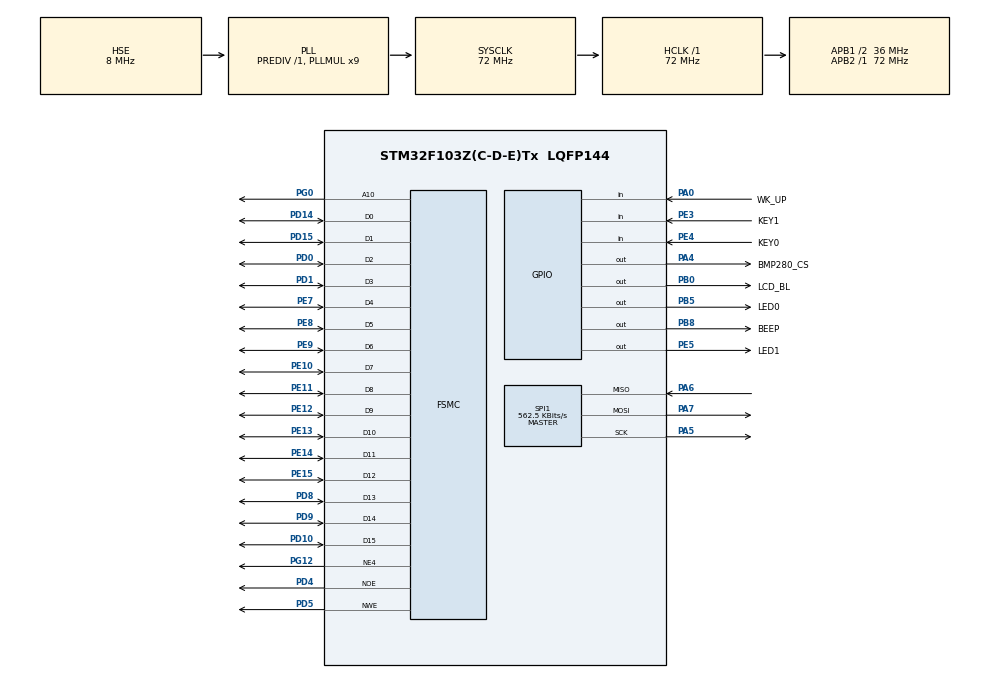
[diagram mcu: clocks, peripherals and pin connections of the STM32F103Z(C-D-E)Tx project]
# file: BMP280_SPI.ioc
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FSMC.AddressSetupTime1=1
FSMC.BusTurnAroundDuration1=0
FSMC.DataSetupTime1=15
FSMC.ExtendedAddressSetupTime1=0
FSMC.ExtendedBusTurnAroundDuration1=0
FSMC.ExtendedDataSetupTime1=3
FSMC.ExtendedMode1=FSMC_EXTENDED_MODE_ENABLE
Mcu.Family=STM32F1
Mcu.Name=STM32F103Z(C-D-E)Tx
Mcu.Package=LQFP144
NVIC.PriorityGroup=NVIC_PRIORITYGROUP_2
OSC_IN.Mode=HSE-External-Oscillator
OSC_IN.Signal=RCC_OSC_IN
OSC_OUT.Mode=HSE-External-Oscillator
OSC_OUT.Signal=RCC_OSC_OUT
PA0-WKUP.GPIO_Label=WK_UP
PA0-WKUP.GPIO_PuPd=GPIO_PULLDOWN
PA0-WKUP.Signal=GPIO_Input
PA13.Mode=Serial_Wire
PA13.Signal=SYS_JTMS-SWDIO
PA14.Mode=Serial_Wire
PA14.Signal=SYS_JTCK-SWCLK
PA4.GPIO_Label=BMP280_CS
PA4.GPIO_Speed=GPIO_SPEED_FREQ_HIGH
PA4.PinState=GPIO_PIN_SET
PA4.Signal=GPIO_Output
PA5.Mode=Full_Duplex_Master
PA5.Signal=SPI1_SCK
PA6.Mode=Full_Duplex_Master
PA6.Signal=SPI1_MISO
PA7.Mode=Full_Duplex_Master
PA7.Signal=SPI1_MOSI
PB0.GPIO_Label=LCD_BL
PB0.GPIO_PuPd=GPIO_PULLUP
PB0.Signal=GPIO_Output
PB5.GPIO_Label=LED0
PB5.GPIO_PuPd=GPIO_PULLUP
PB5.GPIO_Speed=GPIO_SPEED_FREQ_LOW
PB5.PinState=GPIO_PIN_SET
PB5.Signal=GPIO_Output
PB8.GPIO_Label=BEEP
PB8.GPIO_PuPd=GPIO_PULLUP
PB8.Signal=GPIO_Output
PC14-OSC32_IN.Mode=LSE-External-Oscillator
PC14-OSC32_IN.Signal=RCC_OSC32_IN
PC15-OSC32_OUT.Mode=LSE-External-Oscillator
PC15-OSC32_OUT.Signal=RCC_OSC32_OUT
PD0.Signal=FSMC_D2_DA2
PD1.Signal=FSMC_D3_DA3
PD10.Signal=FSMC_D15_DA15
PD14.Signal=FSMC_D0_DA0
PD15.Signal=FSMC_D1_DA1
PD4.Signal=FSMC_NOE
PD5.Signal=FSMC_NWE
PD8.Signal=FSMC_D13_DA13
PD9.Signal=FSMC_D14_DA14
PE10.Signal=FSMC_D7_DA7
PE11.Signal=FSMC_D8_DA8
PE12.Signal=FSMC_D9_DA9
PE13.Signal=FSMC_D10_DA10
PE14.Signal=FSMC_D11_DA11
PE15.Signal=FSMC_D12_DA12
PE3.GPIO_Label=KEY1
PE3.GPIO_PuPd=GPIO_PULLUP
PE3.Signal=GPIO_Input
PE4.GPIO_Label=KEY0
PE4.GPIO_PuPd=GPIO_PULLUP
PE4.Signal=GPIO_Input
PE5.GPIO_Label=LED1
PE5.GPIO_PuPd=GPIO_PULLUP
PE5.PinState=GPIO_PIN_SET
PE5.Signal=GPIO_Output
PE7.Signal=FSMC_D4_DA4
PE8.Signal=FSMC_D5_DA5
PE9.Signal=FSMC_D6_DA6
PG0.Signal=FSMC_A10
PG12.Mode=NorPsramChipSelect4_1
PG12.Signal=FSMC_NE4
ProjectManager.HeapSize=0x200
ProjectManager.StackSize=0x400
ProjectManager.TargetToolchain=MDK-ARM V5
RCC.AHBFreq_Value=72000000
RCC.APB1CLKDivider=RCC_HCLK_DIV2
RCC.APB1Freq_Value=36000000
RCC.APB1TimFreq_Value=72000000
RCC.APB2Freq_Value=72000000
RCC.APB2TimFreq_Value=72000000
RCC.HCLKFreq_Value=72000000
RCC.PLLMUL=RCC_PLL_MUL9
RCC.PLLSourceVirtual=RCC_PLLSOURCE_HSE
RCC.SYSCLKFreq_VALUE=72000000
RCC.SYSCLKSource=RCC_SYSCLKSOURCE_PLLCLK
RCC.USBFreq_Value=72000000
SH.FSMC_A10.0=FSMC_A10,A10_1
SH.FSMC_D0_DA0.0=FSMC_D0,16b-d1
SH.FSMC_D10_DA10.0=FSMC_D10,16b-d1
SH.FSMC_D11_DA11.0=FSMC_D11,16b-d1
SH.FSMC_D12_DA12.0=FSMC_D12,16b-d1
SH.FSMC_D13_DA13.0=FSMC_D13,16b-d1
SH.FSMC_D14_DA14.0=FSMC_D14,16b-d1
SH.FSMC_D15_DA15.0=FSMC_D15,16b-d1
SH.FSMC_D1_DA1.0=FSMC_D1,16b-d1
SH.FSMC_D2_DA2.0=FSMC_D2,16b-d1
SH.FSMC_D3_DA3.0=FSMC_D3,16b-d1
SH.FSMC_D4_DA4.0=FSMC_D4,16b-d1
SH.FSMC_D5_DA5.0=FSMC_D5,16b-d1
SH.FSMC_D6_DA6.0=FSMC_D6,16b-d1
SH.FSMC_D7_DA7.0=FSMC_D7,16b-d1
SH.FSMC_D8_DA8.0=FSMC_D8,16b-d1
SH.FSMC_D9_DA9.0=FSMC_D9,16b-d1
SH.FSMC_NOE.0=FSMC_NOE,Lcd1
SH.FSMC_NWE.0=FSMC_NWE,Lcd1
SPI1.BaudRatePrescaler=SPI_BAUDRATEPRESCALER_128
SPI1.CLKPhase=SPI_PHASE_2EDGE
SPI1.CLKPolarity=SPI_POLARITY_HIGH
SPI1.CalculateBaudRate=562.5 KBits/s
SPI1.Direction=SPI_DIRECTION_2LINES
SPI1.Mode=SPI_MODE_MASTER
SPI1.VirtualType=VM_MASTER
board=custom

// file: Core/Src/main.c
/* USER CODE BEGIN Header */
/**
  ******************************************************************************
  * @file           : main.c
  * @brief          : Main program body
  ******************************************************************************
  * @attention
  *
  * <h2><center>&copy; Copyright (c) 2021 STMicroelectronics.
  * All rights reserved.</center></h2>
  *
  * This software component is licensed by ST under BSD 3-Clause license,
  * the "License"; You may not use this file except in compliance with the
  * License. You may obtain a copy of the License at:
  *                        opensource.org/licenses/BSD-3-Clause
  *
  ******************************************************************************
  */
/* USER CODE END Header */
#include "main.h"
#include "spi.h"
#include "gpio.h"
#include "fsmc.h"

/* USER CODE BEGIN Includes */
#include "lcd.h"
#include "bmp2_common.h"
/* USER CODE END Includes */

void SystemClock_Config(void);

int main(void)
{
  /* USER CODE BEGIN 1 */
    uint8_t i;
    //int8_t rslt;
    uint32_t meas_time;
    struct bmp2_dev dev;
    struct bmp2_config conf;
    struct bmp2_status status;
    struct bmp2_data comp_data;
  /* USER CODE END 1 */

  /* MCU Configuration--------------------------------------------------------*/

  /* Reset of all peripherals, Initializes the Flash interface and the Systick. */
  HAL_Init();

  /* Configure the system clock */
  SystemClock_Config();

  /* Initialize all configured peripherals */
  MX_GPIO_Init();
  MX_FSMC_Init();
  MX_SPI1_Init();
  /* USER CODE BEGIN 2 */
    LCD_Init();
    POINT_COLOR = RED;
    LCD_ShowString(30,50,200,16,16,"STM32F103ZET6");
    LCD_ShowString(30,70,200,16,16,"BMP280 TEST");
    LCD_ShowString(30,90,200,16,16,"Luke");
    LCD_ShowString(30,110,200,16,16,"2021/11/01");
    POINT_COLOR = BLUE;//设置字体为蓝色
    LCD_ShowString(30,130,200,16,16,"Temperate: 00.00C");	//先在固定位置显示小数点
    LCD_ShowString(30,150,200,16,16,"Pressure:  0000hPa");	//先在固定位置显示小数点
    bmp2_interface_selection(&dev,&hspi1);//选择接口总线
    bmp2_init(&dev);//初始化
    bmp2_get_config(&conf, &dev);//在写入之前始终读取当前设置，特别是在未修改所有配置的情况下

    //配置过采样模式、滤波器系数和输出数据速率。
    conf.filter = BMP2_FILTER_OFF;// 覆盖所需设置
    conf.os_mode = BMP2_OS_MODE_HIGH_RESOLUTION;//过采样模式设置为高分辨率，即os_pres=8x和os_temp=1x
    conf.odr = BMP2_ODR_250_MS;//设置输出数据速率
    bmp2_set_config(&conf, &dev);
    bmp2_set_power_mode(BMP2_POWERMODE_NORMAL, &conf, &dev);//设置normal电源模式
    bmp2_compute_meas_time(&meas_time, &conf, &dev);//以微秒为单位计算测量时间

  /* USER CODE END 2 */

  /* Infinite loop */
  while (1)
  {

    /* USER CODE BEGIN 3 */
    i++;
    HAL_Delay(10);
    if(i==50)
    {
        bmp2_get_status(&status, &dev);//读取BMP280运行状态
        if (status.measuring == BMP2_MEAS_DONE)
        {
            dev.delay_us(meas_time, dev.intf_ptr);//两次测量间的延时
            bmp2_get_sensor_data(&comp_data, &dev);//读取补偿后的温度和压力
            //显示温度
            if(comp_data.temperature < 0)
            {
                LCD_ShowString(30+10*8,150,16,16,16,"-");//显示负号
            }
            else
            {
                LCD_ShowString(30+10*8,150,16,16,16," ");//无负号
            }
            LCD_ShowxNum(30+11*8,130,comp_data.temperature/100,2,16,0);//显示整数部分
            LCD_ShowxNum(30+14*8,130,comp_data.temperature%100,2,16, 0X80);//显示小数部分
            //显示大气压力
            LCD_ShowxNum(30+11*8,150,comp_data.pressure/100,4,16,0);//显示整数部分
        }

        LED0_TOGGLE();//提示系统正在运行
        i=0;
    }
  }
  /* USER CODE END 3 */
}

void SystemClock_Config(void)
{
  RCC_OscInitTypeDef RCC_OscInitStruct = {0};
  RCC_ClkInitTypeDef RCC_ClkInitStruct = {0};

  /** Initializes the RCC Oscillators according to the specified parameters
  * in the RCC_OscInitTypeDef structure.
  */
  RCC_OscInitStruct.OscillatorType = RCC_OSCILLATORTYPE_HSE;
  RCC_OscInitStruct.HSEState = RCC_HSE_ON;
  RCC_OscInitStruct.HSEPredivValue = RCC_HSE_PREDIV_DIV1;
  RCC_OscInitStruct.HSIState = RCC_HSI_ON;
  RCC_OscInitStruct.PLL.PLLState = RCC_PLL_ON;
  RCC_OscInitStruct.PLL.PLLSource = RCC_PLLSOURCE_HSE;
  RCC_OscInitStruct.PLL.PLLMUL = RCC_PLL_MUL9;
  if (HAL_RCC_OscConfig(&RCC_OscInitStruct) != HAL_OK)
  {
    Error_Handler();
  }
  /** Initializes the CPU, AHB and APB buses clocks
  */
  RCC_ClkInitStruct.ClockType = RCC_CLOCKTYPE_HCLK|RCC_CLOCKTYPE_SYSCLK
                              |RCC_CLOCKTYPE_PCLK1|RCC_CLOCKTYPE_PCLK2;
  RCC_ClkInitStruct.SYSCLKSource = RCC_SYSCLKSOURCE_PLLCLK;
  RCC_ClkInitStruct.AHBCLKDivider = RCC_SYSCLK_DIV1;
  RCC_ClkInitStruct.APB1CLKDivider = RCC_HCLK_DIV2;
  RCC_ClkInitStruct.APB2CLKDivider = RCC_HCLK_DIV1;

  if (HAL_RCC_ClockConfig(&RCC_ClkInitStruct, FLASH_LATENCY_2) != HAL_OK)
  {
    Error_Handler();
  }
}

void Error_Handler(void)
{
}

/************************ (C) COPYRIGHT STMicroelectronics *****END OF FILE****/
